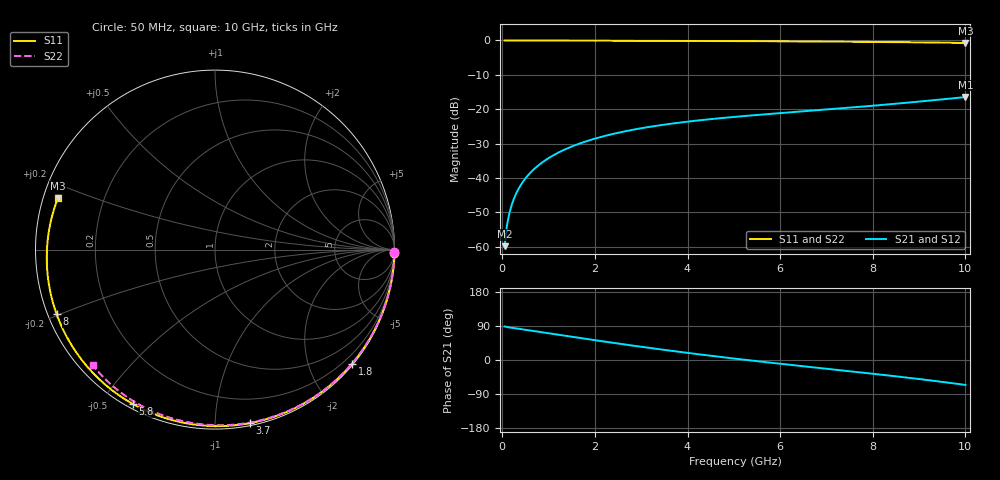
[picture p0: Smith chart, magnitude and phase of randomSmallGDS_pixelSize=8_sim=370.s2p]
! freq	dB(S11)	phase(S11)	dB(S12)	phase(S12)
!  dB(S21)	phase(S21)	dB(S22)	phase(S22)
!S-par simulation data
#  GHz  S  DB  R 50
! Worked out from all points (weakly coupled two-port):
!   200 points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, 50 MHz to 10 GHz, reference 50 ohm
!   highest |S21| = -16.46 dB at 10 GHz (marker M1); lowest = -59.8 dB at 50 MHz (marker M2)
!   lowest |S11| = -0.7 dB at 10 GHz (marker M3), VSWR 24.32, Z = 2.11 + j8 ohm
!   |S11| at or under -10 dB: nowhere
!   |S22| runs from -0.6 to 0.0 dB; largest |S21 - S12| = 0
!   S11 on the Smith chart (normalised r, x): 50 MHz: open; 1.8 GHz: 0.03, -2.77; 3.7 GHz: 0.02, -1.22; 5.8 GHz: 0.02, -0.60; 8 GHz: 0.03, -0.20; 10 GHz: 0.04, +0.16
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0.05  -0.00 -1.1  -59.81 88.4  -59.81 88.4  -0.00 -0.8
0.1  -0.00 -2.3  -53.85 87.1  -53.85 87.1  -0.00 -1.6
0.15  -0.00 -3.4  -50.39 86.0  -50.39 86.0  -0.00 -2.4
0.2  -0.00 -4.5  -47.94 85.1  -47.94 85.1  -0.00 -3.2
0.35  -0.01 -7.9  -43.17 82.4  -43.17 82.4  -0.00 -5.6
0.5  -0.01 -11.3  -40.11 79.8  -40.11 79.8  -0.01 -8.0
0.7  -0.02 -15.7  -37.24 76.1  -37.24 76.1  -0.01 -11.2
1  -0.03 -22.3  -34.21 70.6  -34.21 70.6  -0.02 -15.9
1.35  -0.04 -30.0  -31.70 64.1  -31.70 64.1  -0.03 -21.4
1.75  -0.05 -38.7  -29.60 56.8  -29.60 56.8  -0.04 -27.6
1.8  -0.06 -39.7  -29.37 55.9  -29.37 55.9  -0.04 -28.3
2.6  -0.08 -56.6  -26.55 41.7  -26.55 41.7  -0.06 -40.5
3.4  -0.11 -72.8  -24.66 28.3  -24.66 28.3  -0.08 -52.3
3.7  -0.12 -78.7  -24.11 23.5  -24.11 23.5  -0.09 -56.7
4.35  -0.15 -91.2  -23.08 13.4  -23.08 13.4  -0.11 -65.9
5.05  -0.18 -104.3  -22.18 3.2  -22.18 3.2  -0.14 -75.5
5.8  -0.23 -118.0  -21.34 -7.2  -21.34 -7.2  -0.17 -85.4
6.7  -0.29 -134.1  -20.40 -19.1  -20.40 -19.1  -0.22 -97.0
8  -0.42 -157.7  -18.98 -36.2  -18.98 -36.2  -0.32 -112.9
8.35  -0.46 -164.3  -18.57 -41.0  -18.57 -41.0  -0.35 -117.1
9.2  -0.58 178.9  -17.52 -53.2  -17.52 -53.2  -0.45 -127.1
10  -0.71 161.8  -16.46 -65.8  -16.46 -65.8  -0.56 -136.5
